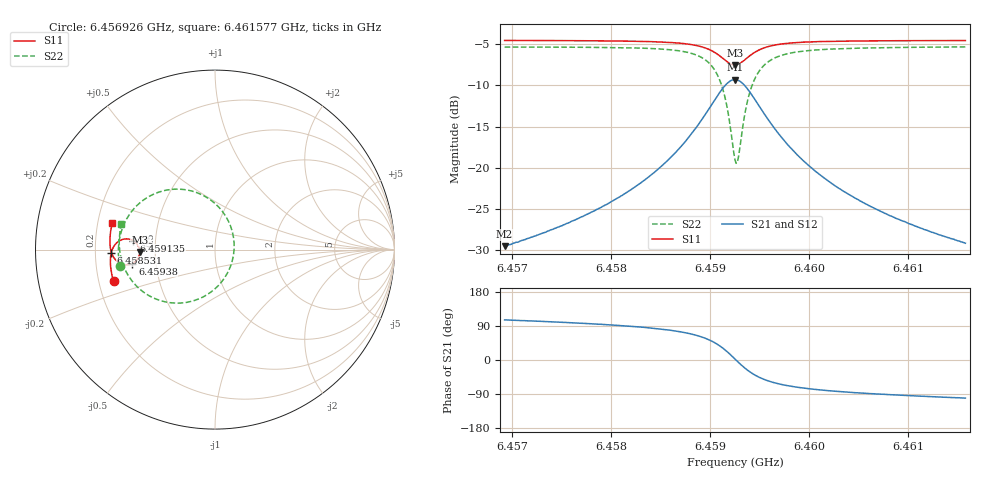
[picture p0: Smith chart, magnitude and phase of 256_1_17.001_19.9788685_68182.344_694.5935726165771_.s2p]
#  HZ  S  RI  R  50.00
! Rohde & Schwarz Vector Network Analyzer
! Rohde-Schwarz,ZNB20-2Port,1311601062101988,3.16
! Created: UTC 3/20/2024, 11:03:34 PM
! freq[Hz]  re:S11  im:S11  re:S21  im:S21  re:S12  im:S12  re:S22  im:S22
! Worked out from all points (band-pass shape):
!   401 points, 6.456926 GHz to 6.461577 GHz, reference 50 ohm
!   highest |S21| = -9.30 dB at 6.459252 GHz (marker M1); lowest = -29.5 dB at 6.456926 GHz (marker M2)
!   |S21| within 3 dB of the highest: 6.459018 GHz to 6.459484 GHz (465.3 kHz wide, 0.0072 % of centre)
!   lowest |S11| = -7.5 dB at 6.459252 GHz (marker M3), VSWR 2.45, Z = 20.5 - j0.633 ohm
!   |S11| at or under -10 dB: nowhere
!   |S22| runs from -19.5 to -5.3 dB; largest |S21 - S12| = 0.013
!   S11 on the Smith chart (normalised r, x): 6.456926 GHz: 0.26, -0.14; 6.458531 GHz: 0.27, -0.01; 6.459135 GHz: 0.37, +0.05; 6.45938 GHz: 0.37, -0.07; 6.461577 GHz: 0.26, +0.12
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6.4569261e9  -0.5651 -0.1765  -0.00915 0.0321  -0.00747 0.0321  -0.5317 -0.0936
6.4577052e9  -0.5798 -0.1088  -0.0059 0.0501  -0.00351 0.0494  -0.5384 -0.00287
6.4581354e9  -0.5832 -0.066  -0.000129 0.0693  0.00307 0.0681  -0.5311 0.0649
6.4584843e9  -0.5796 -0.0246  0.0135 0.0981  0.0173 0.0955  -0.5063 0.1428
6.4585308e9  -0.5783 -0.0183  0.0168 0.1036  0.0207 0.1007  -0.5 0.1561
6.4587401e9  -0.5662 0.0136  0.0425 0.1352  0.0467 0.1306  -0.4517 0.228
6.4588912e9  -0.5451 0.04  0.085 0.1655  0.0884 0.159  -0.3735 0.2925
6.4590424e9  -0.4993 0.0597  0.1766 0.1848  0.1775 0.1775  -0.2064 0.337
6.4591354e9  -0.455 0.0496  0.2661 0.1538  0.2663 0.1479  -0.0402 0.2873
6.4591819e9  -0.4339 0.0309  0.3094 0.1112  0.3107 0.106  0.0423 0.2113
6.4592517e9  -0.4193 -0.0127  0.3424 0.0149  0.346 0.00805  0.1066 0.0325
6.4592633e9  -0.4198 -0.0208  0.3422 -0.00268  0.3461 -0.0102  0.1063 -0.000775
6.4592866e9  -0.4232 -0.0361  0.3367 -0.0372  0.3406 -0.0462  0.0952 -0.0661
6.4593331e9  -0.4388 -0.0619  0.3084 -0.0964  0.3104 -0.1082  0.0381 -0.1781
6.4593796e9  -0.4606 -0.0779  0.2668 -0.1371  0.266 -0.1501  -0.0462 -0.2524
6.4594726e9  -0.5035 -0.0846  0.183 -0.1681  0.1769 -0.1794  -0.2131 -0.2984
6.4596238e9  -0.5469 -0.0642  0.0961 -0.1546  0.0877 -0.1608  -0.3792 -0.2498
6.4597866e9  -0.5683 -0.0366  0.0516 -0.1274  0.044 -0.13  -0.4593 -0.1785
6.4600308e9  -0.581 -0.00108  0.0225 -0.0962  0.0168 -0.0968  -0.5071 -0.0967
6.4604029e9  -0.5856 0.0425  0.00598 -0.0685  0.00191 -0.068  -0.5298 -0.0134
6.4608099e9  -0.5837 0.0832  -0.00129 -0.0513  -0.00401 -0.0505  -0.5335 0.0508
6.4615773e9  -0.5715 0.1509  -0.0064 -0.0342  -0.00815 -0.0333  -0.5224 0.1411
